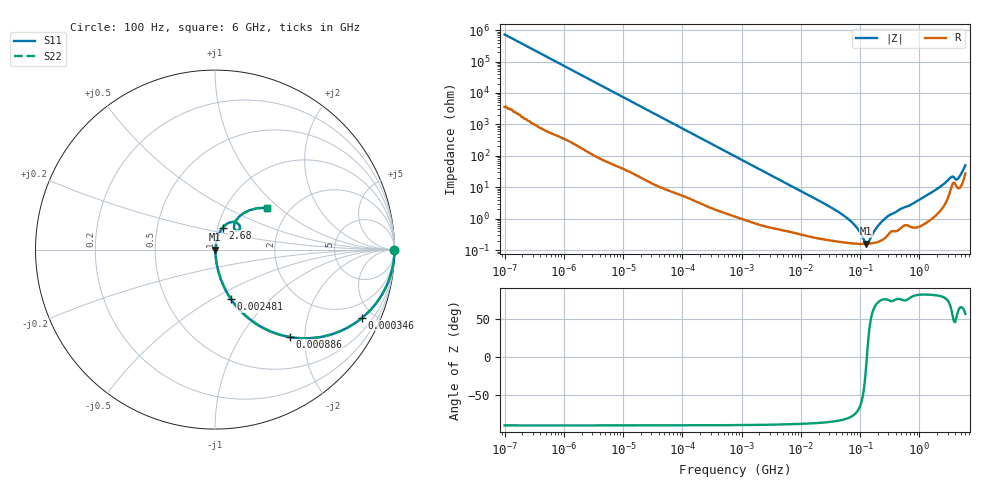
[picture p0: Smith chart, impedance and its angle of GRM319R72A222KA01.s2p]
!Murata Part Number: GRM319R72A222KA01
!These Parameters are Measured in Series Mode Connection
!Data Generated on Mar 30, 2021
!  o--ll--o
!Port1  Port2
!  o------o
!Operation Temp=25[degC], DC Bias Voltage=0[V]
!Freq. Start=100[Hz] Stop=6[GHz] 401[Steps]
# Hz S RI R 50
!Freq.(Hz) S11(Real) S11(Imag) S21(Real) S21(Imag) S12(Real) S12(Imag) S22(Real) S22(Imag)
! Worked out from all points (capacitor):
!   401 points, 100 Hz to 6 GHz, reference 50 ohm
!   read as one part in series: C = 2.19 nF near 109 Hz
!   lowest |Z| = 161 mohm at 127.6 MHz (marker M1)
!   series resonance near 130.3 MHz, so ESL is about 680 pH
!   S11 on the Smith chart (normalised r, x): 100 Hz: open; 346 kHz: 1.04, -4.31; 886 kHz: 1.02, -1.69; 2.481 MHz: 1.01, -0.61; 2.68 GHz: 1.06, +0.26; 6 GHz: 1.55, +0.84
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100  1 -0.000138  7e-07 0.000138  7e-07 0.000138  1 -0.000138
2008  1 -0.00274  2.05e-05 0.00274  2.05e-05 0.00274  1 -0.00274
40335  0.9967 -0.0544  0.00328 0.0544  0.00328 0.0544  0.9967 -0.0544
154540  0.9571 -0.1987  0.0429 0.1987  0.0429 0.1987  0.9571 -0.1987
345986  0.8207 -0.379  0.1793 0.379  0.1793 0.379  0.8207 -0.379
774597  0.4836 -0.4937  0.5164 0.4937  0.5164 0.4937  0.4836 -0.4937
885955  0.4185 -0.487  0.5815 0.487  0.5815 0.487  0.4185 -0.487
1516199  0.2013 -0.3935  0.7987 0.3935  0.7987 0.3935  0.2013 -0.3935
2481164  0.089 -0.2756  0.911 0.2756  0.911 0.2756  0.089 -0.2756
5809218  0.0206 -0.1276  0.9794 0.1276  0.9794 0.1276  0.0206 -0.1276
1.555665e7  0.00495 -0.0487  0.995 0.0487  0.995 0.0487  0.00495 -0.0487
6.518806e7  0.00175 -0.00913  0.9982 0.00913  0.9982 0.00913  0.00175 -0.00913
8.918374e7  0.00161 -0.00476  0.9984 0.00476  0.9984 0.00476  0.00161 -0.00476
1.275994e8  0.00158 -0.000258  0.9984 0.000258  0.9984 0.000258  0.00158 -0.000258
1.395531e8  0.0016 0.000853  0.9984 -0.000853  0.9984 -0.000853  0.0016 0.000853
2.088084e8  0.00191 0.00616  0.9981 -0.00616  0.9981 -0.00616  0.00191 0.00616
3.124326e8  0.00359 0.0124  0.9964 -0.0124  0.9964 -0.0124  0.00359 0.0124
7.650043e8  0.00609 0.0289  0.9939 -0.0289  0.9939 -0.0289  0.00609 0.0289
2.679998e9  0.0426 0.1219  0.9574 -0.1219  0.9574 -0.1219  0.0426 0.1219
3.352442e9  0.0995 0.1545  0.9005 -0.1545  0.9005 -0.1545  0.0995 0.1545
4.385646e9  0.1057 0.1229  0.8943 -0.1229  0.8943 -0.1229  0.1057 0.1229
6e9  0.2911 0.2325  0.7089 -0.2325  0.7089 -0.2325  0.2911 0.2325
